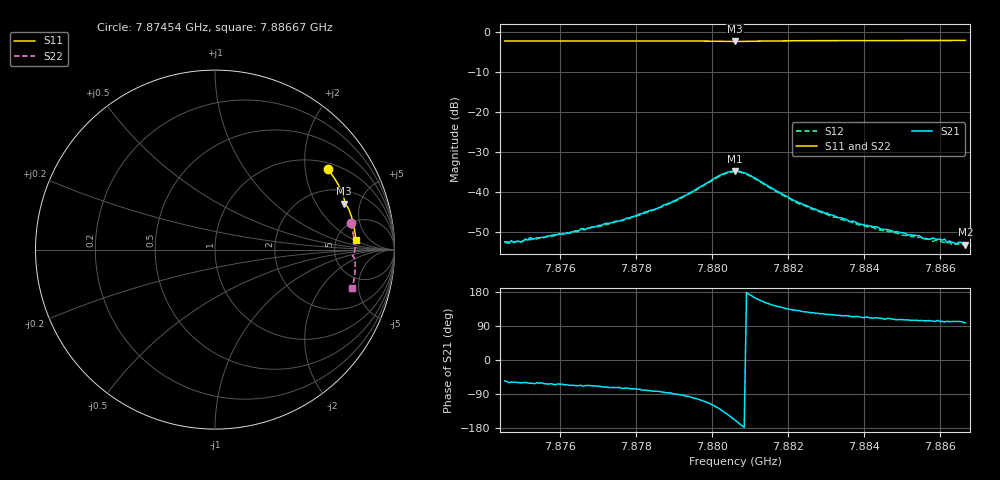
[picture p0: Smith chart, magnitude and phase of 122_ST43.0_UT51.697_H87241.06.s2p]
#  HZ  S  DB  R  50.00
! Rohde & Schwarz Vector Network Analyzer
! Rohde-Schwarz,ZNB20-2Port,1311601062101988,3.16
! Created: UTC 1/12/2023, 6:38:20 PM
! freq[Hz]  db:S11  ang:S11  db:S21  ang:S21  db:S12  ang:S12  db:S22  ang:S22
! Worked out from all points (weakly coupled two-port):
!   201 points, 7.87454 GHz to 7.88667 GHz, reference 50 ohm
!   highest |S21| = -34.74 dB at 7.88061 GHz (marker M1); lowest = -53.2 dB at 7.88667 GHz (marker M2)
!   lowest |S11| = -2.3 dB at 7.88061 GHz (marker M3), VSWR 7.47, Z = 144 + j178 ohm
!   |S11| at or under -10 dB: nowhere
!   |S22| runs from -2.3 to -2.0 dB; largest |S21 - S12| = 0.0013
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7.874541e9  -2.25 35.7  -52.51 -55.2  -52.74 -61.9  -2.27 10.9
7.874965e9  -2.24 34.5  -52.58 -60.5  -52.51 -63.1  -2.25 9.8
7.875208e9  -2.23 33.8  -51.43 -61.2  -52.04 -64.2  -2.25 9.2
7.875329e9  -2.23 33.5  -51.75 -62.9  -51.78 -64.9  -2.24 9.0
7.876239e9  -2.22 31.0  -50.40 -66.6  -50.22 -69.3  -2.23 6.8
7.876603e9  -2.21 30.0  -49.16 -69.2  -49.45 -70.8  -2.20 6.0
7.877634e9  -2.20 27.2  -47.18 -75.1  -46.99 -77.2  -2.18 3.6
7.878605e9  -2.20 24.5  -43.91 -82.7  -43.99 -86.4  -2.17 1.3
7.879332e9  -2.21 22.5  -40.75 -95.6  -40.82 -98.6  -2.17 -0.5
7.880242e9  -2.30 20.1  -35.70 -131.8  -35.85 -135.1  -2.26 -2.4
7.880606e9  -2.34 19.6  -34.74 -158.6  -34.94 -162.3  -2.30 -2.7
7.88097e9  -2.30 19.2  -35.70 173.6  -35.88 170.7  -2.26 -2.9
7.881819e9  -2.18 17.0  -40.38 139.1  -40.68 135.0  -2.13 -4.6
7.882668e9  -2.15 14.7  -44.18 124.9  -44.43 121.0  -2.08 -6.6
7.883639e9  -2.12 12.0  -47.52 115.3  -47.38 111.0  -2.04 -8.9
7.88467e9  -2.11 9.3  -49.57 109.9  -50.00 105.2  -2.03 -11.1
7.885458e9  -2.10 7.3  -50.93 103.5  -51.37 102.1  -2.01 -12.8
7.88558e9  -2.10 6.9  -51.73 103.3  -51.69 101.6  -2.02 -13.1
7.886126e9  -2.09 5.5  -51.79 100.1  -52.64 100.6  -2.01 -14.3
7.886186e9  -2.09 5.3  -52.73 102.3  -52.87 98.4  -2.01 -14.4
7.88655e9  -2.09 4.4  -52.55 101.5  -53.09 96.6  -2.00 -15.2
7.886671e9  -2.08 4.1  -53.21 98.1  -53.58 97.1  -2.00 -15.4
